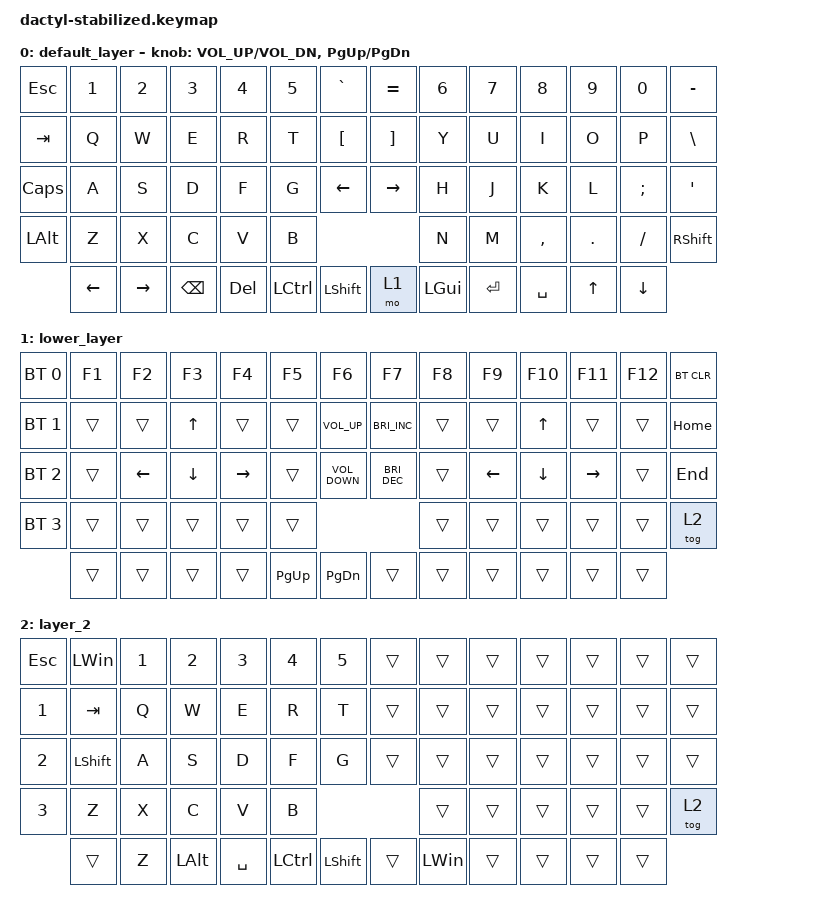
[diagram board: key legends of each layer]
/*
 * Copyright (c) 2020 The ZMK Contributors
 *
 * SPDX-License-Identifier: MIT
 */

#include <behaviors.dtsi>
#include <dt-bindings/zmk/bt.h>
#include <dt-bindings/zmk/keys.h>

/ {
    keymap {
        compatible = "zmk,keymap";

        // TODO: SWAP SHIFTED KEYS SOMEHOW

        default_layer {
            // ------------------------------------------------------------------------------------------------------------
            // |  ESC  |  !  |  @  |   #  |   $   |   %   |   ^   |  |   &   |   *   |  (    |  )    |  -   |   +   |   `   |
            // |  TAB  |  Q  |  W  |   E  |   R   |   T   |   [   |  |   ]   |   Y   |  U    |  I    |  O   |   P   |   \   |
            // | SHIFT |  A  |  S  |   D  |   F   |   G   |   (   |  |   )   |   H   |  J    |  K    |  L   |   ;   |   '   |
            // |  CTRL |  Z  |  X  |   C  |   V   |   B   |       |  |       |   N   |  M    |  ,    |  .   |   /   | ENTER |
            //         | XXX | ALT |  GUI | ENTER | LOWER | RAISE |  | RAISE | LOWER | SPACE | BSPC  | UNDO |   DO  |
            //

            bindings = <
&kp ESC       &kp N1    &kp N2     &kp NUMBER_3   &kp NUMBER_4  &kp N5     &kp GRAVE         &kp EQUAL  &kp NUMBER_6  &kp N7     &kp N8     &kp N9        &kp N0    &kp MINUS
&kp TAB       &kp Q     &kp W      &kp E          &kp R         &kp T      &kp LBKT          &kp RBKT   &kp Y         &kp U      &kp I      &kp O         &kp P     &kp BSLH
&kp CAPS      &kp A     &kp S      &kp D          &kp F         &kp G      &kp LEFT          &kp RIGHT  &kp H         &kp J      &kp K      &kp L         &kp SEMI  &kp SQT
&kp LEFT_ALT  &kp Z     &kp X      &kp C          &kp V         &kp B                                   &kp N         &kp M      &kp COMMA  &kp DOT       &kp FSLH  &kp RSHIFT
              &kp LEFT  &kp RIGHT  &kp BACKSPACE  &kp DELETE    &kp LCTRL  &kp LEFT_SHIFT    &mo 1      &kp LEFT_GUI  &kp ENTER  &kp SPACE  &kp UP_ARROW  &kp DOWN
            >;

            sensor-bindings = <&inc_dec_kp C_VOL_UP C_VOL_DN &inc_dec_kp PG_UP PG_DN>;
        };

        lower_layer {
            // ------------------------------------------------------------------------------------------------------------
            // |       |  F1 | F2  |  F3  |  F4  |  F5  |   F6   |  |       |  F7  |  F8   |  F9   |  F10  |  F11  |  F12  |       |
            // |       |     |     |      |      |      |        |  |       |      |   7   |   8   |   9   |       |       |       |
            // |       |     |     |      |      |      |        |  |       |      |   4   |   5   |   6   |   *   |       |       |
            // |       |     |     |      |      |      |        |  |       |      |   1   |   2   |   3   |   /   |       |       |
            //               |     |      |      |      |        |  |       |      |       |       |       |   0   |   .   |       |

            bindings = <
&bt BT_SEL 0  &kp F1  &kp F2          &kp F3        &kp F4           &kp F5     &kp F6               &kp F7                &kp F8  &kp F9    &kp F10       &kp F11    &kp F12  &bt BT_CLR
&bt BT_SEL 1  &trans  &trans          &kp UP_ARROW  &trans           &trans     &kp C_VOLUME_UP      &kp C_BRIGHTNESS_INC  &trans  &trans    &kp UP_ARROW  &trans     &trans   &kp HOME
&bt BT_SEL 2  &trans  &kp LEFT_ARROW  &kp DOWN      &kp RIGHT_ARROW  &trans     &kp C_VOLUME_DOWN    &kp C_BRIGHTNESS_DEC  &trans  &kp LEFT  &kp DOWN      &kp RIGHT  &trans   &kp END
&bt BT_SEL 3  &trans  &trans          &trans        &trans           &trans                                                &trans  &trans    &trans        &trans     &trans   &tog 2
              &trans  &trans          &trans        &trans           &kp PG_UP  &kp PAGE_DOWN        &trans                &trans  &trans    &trans        &trans     &trans
            >;
        };

        layer_2 {
            bindings = <
&kp ESCAPE    &kp LEFT_WIN    &kp NUMBER_1  &kp NUMBER_2  &kp NUMBER_3  &kp NUMBER_4      &kp N5            &trans  &trans        &trans  &trans  &trans  &trans  &trans
&kp NUMBER_1  &kp TAB         &kp Q         &kp W         &kp E         &kp R             &kp T             &trans  &trans        &trans  &trans  &trans  &trans  &trans
&kp NUMBER_2  &kp LEFT_SHIFT  &kp A         &kp S         &kp D         &kp F             &kp G             &trans  &trans        &trans  &trans  &trans  &trans  &trans
&kp NUMBER_3  &kp Z           &kp X         &kp C         &kp V         &kp B                                       &trans        &trans  &trans  &trans  &trans  &tog 2
              &trans          &kp Z         &kp LEFT_ALT  &kp SPACE     &kp LEFT_CONTROL  &kp LEFT_SHIFT    &trans  &kp LEFT_WIN  &trans  &trans  &trans  &trans
            >;
        };
    };
};
